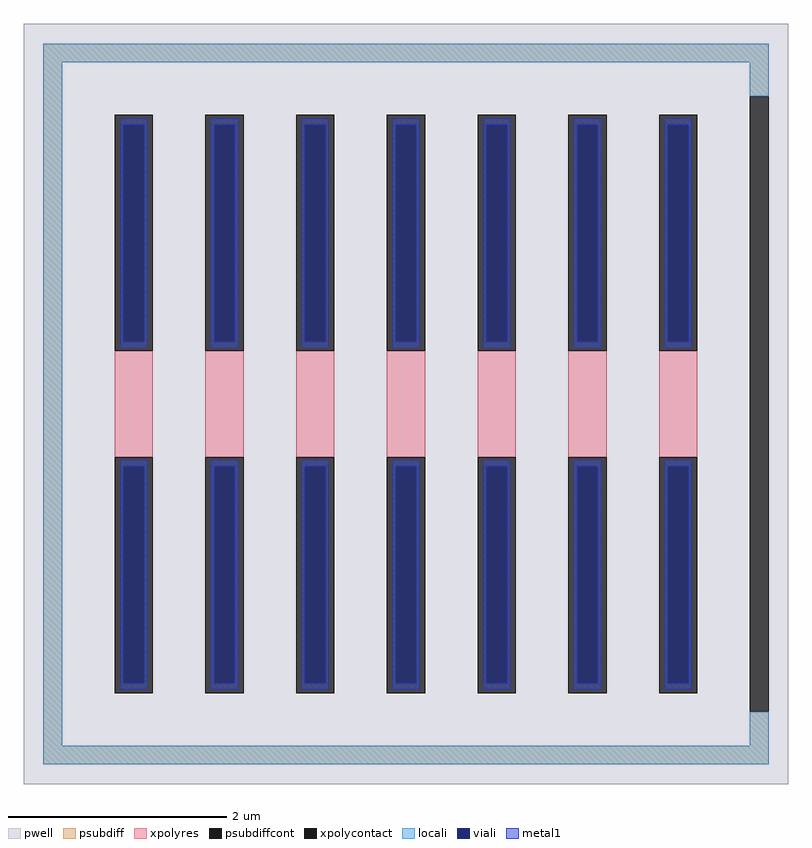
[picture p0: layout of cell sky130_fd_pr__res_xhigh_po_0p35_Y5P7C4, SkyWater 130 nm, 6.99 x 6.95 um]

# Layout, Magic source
magic
tech sky130A
magscale 1 2
<< pwell >>
rect -699 -695 699 695
<< psubdiff >>
rect -663 625 663 659
rect -663 -625 -629 625
rect 629 563 663 625
rect 629 -625 663 -563
rect -663 -659 663 -625
<< psubdiffcont >>
rect 629 -563 663 563
<< xpolycontact >>
rect -533 97 -463 529
rect -533 -529 -463 -97
rect -367 97 -297 529
rect -367 -529 -297 -97
rect -201 97 -131 529
rect -201 -529 -131 -97
rect -35 97 35 529
rect -35 -529 35 -97
rect 131 97 201 529
rect 131 -529 201 -97
rect 297 97 367 529
rect 297 -529 367 -97
rect 463 97 533 529
rect 463 -529 533 -97
<< xpolyres >>
rect -533 -97 -463 97
rect -367 -97 -297 97
rect -201 -97 -131 97
rect -35 -97 35 97
rect 131 -97 201 97
rect 297 -97 367 97
rect 463 -97 533 97
<< locali >>
rect -663 625 663 659
rect -663 -625 -629 625
rect 629 563 663 625
rect 629 -625 663 -563
rect -663 -659 663 -625
<< viali >>
rect -517 114 -479 511
rect -351 114 -313 511
rect -185 114 -147 511
rect -19 114 19 511
rect 147 114 185 511
rect 313 114 351 511
rect 479 114 517 511
rect -517 -511 -479 -114
rect -351 -511 -313 -114
rect -185 -511 -147 -114
rect -19 -511 19 -114
rect 147 -511 185 -114
rect 313 -511 351 -114
rect 479 -511 517 -114
<< metal1 >>
rect -523 511 -473 523
rect -523 114 -517 511
rect -479 114 -473 511
rect -523 102 -473 114
rect -357 511 -307 523
rect -357 114 -351 511
rect -313 114 -307 511
rect -357 102 -307 114
rect -191 511 -141 523
rect -191 114 -185 511
rect -147 114 -141 511
rect -191 102 -141 114
rect -25 511 25 523
rect -25 114 -19 511
rect 19 114 25 511
rect -25 102 25 114
rect 141 511 191 523
rect 141 114 147 511
rect 185 114 191 511
rect 141 102 191 114
rect 307 511 357 523
rect 307 114 313 511
rect 351 114 357 511
rect 307 102 357 114
rect 473 511 523 523
rect 473 114 479 511
rect 517 114 523 511
rect 473 102 523 114
rect -523 -114 -473 -102
rect -523 -511 -517 -114
rect -479 -511 -473 -114
rect -523 -523 -473 -511
rect -357 -114 -307 -102
rect -357 -511 -351 -114
rect -313 -511 -307 -114
rect -357 -523 -307 -511
rect -191 -114 -141 -102
rect -191 -511 -185 -114
rect -147 -511 -141 -114
rect -191 -523 -141 -511
rect -25 -114 25 -102
rect -25 -511 -19 -114
rect 19 -511 25 -114
rect -25 -523 25 -511
rect 141 -114 191 -102
rect 141 -511 147 -114
rect 185 -511 191 -114
rect 141 -523 191 -511
rect 307 -114 357 -102
rect 307 -511 313 -114
rect 351 -511 357 -114
rect 307 -523 357 -511
rect 473 -114 523 -102
rect 473 -511 479 -114
rect 517 -511 523 -114
rect 473 -523 523 -511
<< properties >>
string FIXED_BBOX -646 -642 646 642
string gencell sky130_fd_pr__res_xhigh_po_0p35
string library sky130
string parameters w 0.350 l 1.13 m 1 nx 7 wmin 0.350 lmin 0.50 rho 2000 val 7.532k dummy 0 dw 0.0 term 188.2 sterm 0.0 caplen 0 wmax 0.350 guard 1 glc 0 grc 1 gtc 0 gbc 0 compatible {sky130_fd_pr__res_xhigh_po_0p35  sky130_fd_pr__res_xhigh_po_0p69 sky130_fd_pr__res_xhigh_po_1p41  sky130_fd_pr__res_xhigh_po_2p85 sky130_fd_pr__res_xhigh_po_5p73} snake 0 full_metal 1 n_guard 0 hv_guard 0 vias 1 viagb 0 viagt 0 viagl 0 viagr 0
<< end >>
